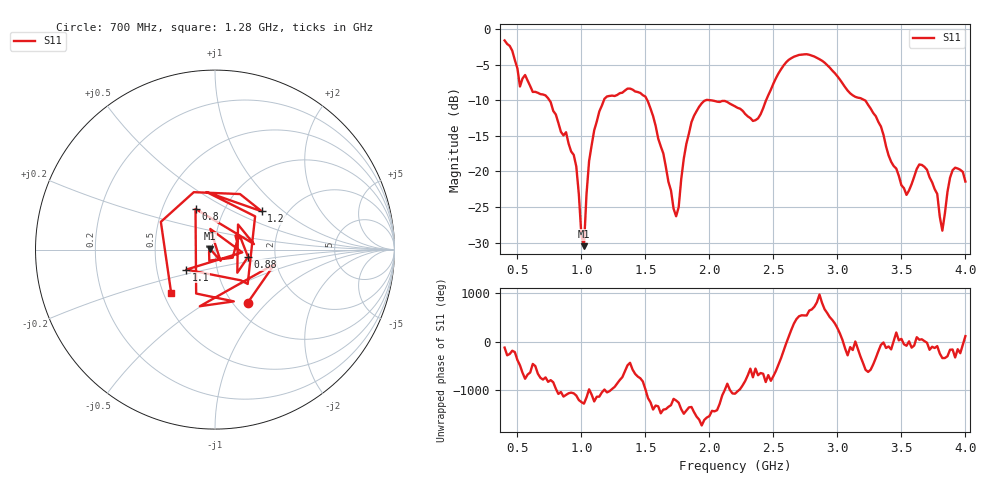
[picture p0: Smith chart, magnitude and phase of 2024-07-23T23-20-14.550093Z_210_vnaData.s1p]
!Created with skrf (http://scikit-rf.org).
# Hz S RI R 50.0
!freq ReS11 ImS11
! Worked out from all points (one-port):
!   181 points, 400 MHz to 4 GHz, reference 50 ohm
!   lowest |S11| = -30.5 dB at 1.02 GHz (marker M1), VSWR 1.06, Z = 47.2 + j0.531 ohm
!   |S11| at or under -10 dB: 1.515 GHz to 1.971 GHz (456.2 MHz wide, 26.2 % of centre); 2.012 GHz to 2.443 GHz (431.1 MHz wide, 19.4 % of centre); 3.214 GHz to end of sweep (the widest 3 of 4)
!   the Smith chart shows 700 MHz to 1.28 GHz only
!   S11 on the Smith chart (normalised r, x): 700 MHz: 1.16, -0.78; 800 MHz: 0.73, +0.35; 880 MHz: 1.44, -0.12; 1.1 GHz: 0.71, -0.16; 1.2 GHz: 1.50, +0.72; 1.28 GHz: 0.55, -0.30
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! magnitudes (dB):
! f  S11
! 400 MHz  -1.6
! 520 MHz  -8.1
! 700 MHz  -9.2
! 800 MHz  -12.0
! 860 MHz  -14.9
! 880 MHz  -14.5
! 960 MHz  -19.3
! 1.02 GHz  -30.5
! 1.06 GHz  -18.6
! 1.1 GHz  -14.2
! 1.2 GHz  -9.5
! 1.28 GHz  -9.2
! 1.3 GHz  -9.0
! 1.5 GHz  -9.5
! 1.72 GHz  -25.2
! 1.76 GHz  -25.0
! 1.82 GHz  -16.1
! 1.9 GHz  -11.5
! 2.2 GHz  -10.9
! 2.38 GHz  -12.5
! 2.66 GHz  -3.9
! 3.1 GHz  -9.0
! 3.3 GHz  -12.2
! 3.56 GHz  -22.7
! 3.7 GHz  -19.8
! 3.82 GHz  -28.3
! 3.9 GHz  -19.8
! 4 GHz  -21.4
